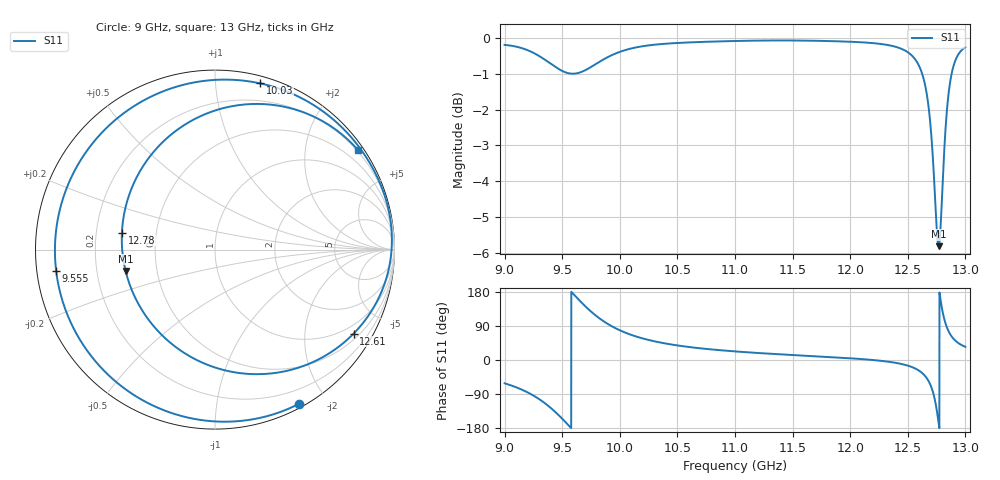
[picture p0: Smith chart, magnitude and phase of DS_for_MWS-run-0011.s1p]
! TOUCHSTONE file generated by CST DESIGN STUDIO
! Date and time: Tue Feb  4 14:29:13 2025
! Project name: C:\Work\MatlabApps\UnitCellOptimizationMatlab\CST\unitcell.cst
! Tree item: Tasks\Sweep1\SPara1\S-Parameters
! Header version: 2024
! Port assignment regex: !\s*Touchstone port\s*([0-9]+)\s*=\s*(CST MWS port|CST DES external port|CST DES block port)\s*(.+)\s* \(\"(.*)\"\)(\s*mode\s*([0-9]+))?.*
! Touchstone port assignment:
! Touchstone port 1 = CST DES external port 1 ("")
# GHz S MA R 50
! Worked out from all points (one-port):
!   4001 points, 9 GHz to 13 GHz, reference 50 ohm
!   lowest |S11| = -5.8 dB at 12.77 GHz (marker M1), VSWR 3.10, Z = 16.3 - j5.26 ohm
!   |S11| at or under -10 dB: nowhere
!   S11 on the Smith chart (normalised r, x): 9 GHz: 0.04, -1.68; 9.555 GHz: 0.06, -0.07; 10.03 GHz: 0.06, +1.31; 12.61 GHz: 0.68, -3.46; 12.78 GHz: 0.31, +0.08; 13 GHz: 0.17, +3.19
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9  0.9782 -61.5
9.149  0.9681 -78.1
9.299  0.944 -103.1
9.401  0.9205 -126.6
9.5  0.8996 -154.9
9.555  0.893 -172.3
9.65  0.8947 157.1
9.77  0.9152 122.7
9.872  0.9361 99.7
10  0.9565 78.4
10.027  0.9598 74.8
10.232  0.9758 54.2
10.5  0.9842 38.5
11  0.9905 22.7
11.5  0.9921 13.1
12  0.9882 4.6
12.309  0.9789 -3.6
12.5  0.9554 -14.8
12.612  0.9033 -31.2
12.668  0.8289 -49.4
12.714  0.6954 -80.2
12.741  0.5798 -114.0
12.768  0.5121 -166.6
12.779  0.5273 169.6
12.812  0.675 113.6
12.845  0.8104 81.9
12.909  0.9269 52.2
13  0.9706 34.7
